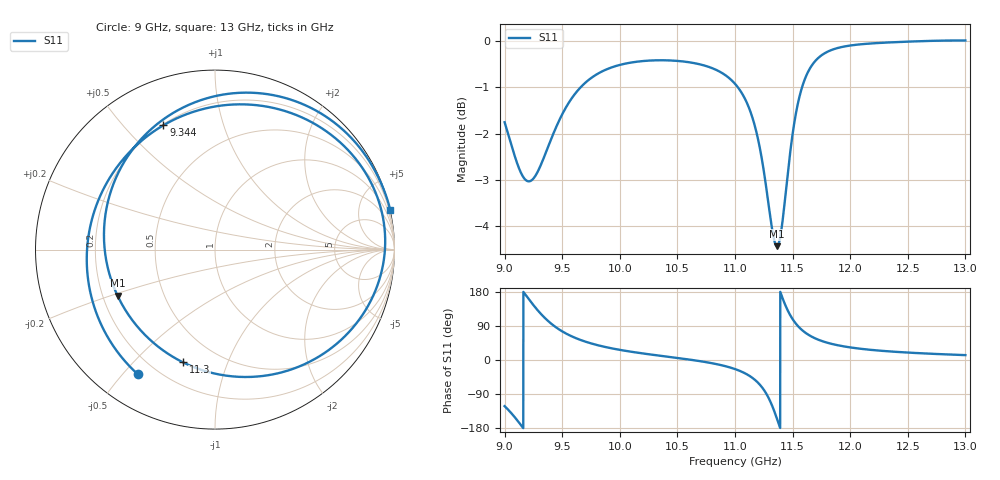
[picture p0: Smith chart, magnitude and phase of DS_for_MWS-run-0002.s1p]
! TOUCHSTONE file generated by CST DESIGN STUDIO
! Date and time: Tue Feb  4 16:19:20 2025
! Project name: C:\Work\MatlabApps\UnitCellOptimizationMatlab\CST\unitcell.cst
! Tree item: Tasks\Sweep1\SPara1\S-Parameters
! Header version: 2024
! Port assignment regex: !\s*Touchstone port\s*([0-9]+)\s*=\s*(CST MWS port|CST DES external port|CST DES block port)\s*(.+)\s* \(\"(.*)\"\)(\s*mode\s*([0-9]+))?.*
! Touchstone port assignment:
! Touchstone port 1 = CST DES external port 1 ("")
# GHz S MA R 50
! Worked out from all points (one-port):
!   4001 points, 9 GHz to 13 GHz, reference 50 ohm
!   lowest |S11| = -4.4 dB at 11.36 GHz (marker M1), VSWR 4.01, Z = 13.1 - j10.5 ohm
!   |S11| at or under -10 dB: nowhere
!   S11 on the Smith chart (normalised r, x): 9 GHz: 0.13, -0.55; 9.344 GHz: 0.20, +0.65; 11.3 GHz: 0.32, -0.70; 13 GHz: -0.02, +8.87
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9  0.8169 -121.7
9.095  0.7465 -153.5
9.167  0.7115 178.1
9.262  0.7135 140.3
9.344  0.7499 112.5
9.416  0.7901 93.1
9.5  0.8331 75.6
9.714  0.904 47.2
10  0.9417 26.8
10.5  0.9512 5.4
10.805  0.9339 -8.8
11  0.8987 -23.9
11.094  0.8621 -36.2
11.169  0.8121 -51.4
11.246  0.7292 -76.8
11.301  0.6528 -105.9
11.332  0.6164 -128.0
11.364  0.6006 -154.7
11.394  0.6157 178.9
11.423  0.6554 155.1
11.462  0.7267 128.2
11.5  0.7933 107.9
11.573  0.8832 81.4
11.693  0.9498 57.5
11.821  0.9754 43.9
12  0.9882 33.2
12.5  0.9977 19.6
13  1.001 12.9
